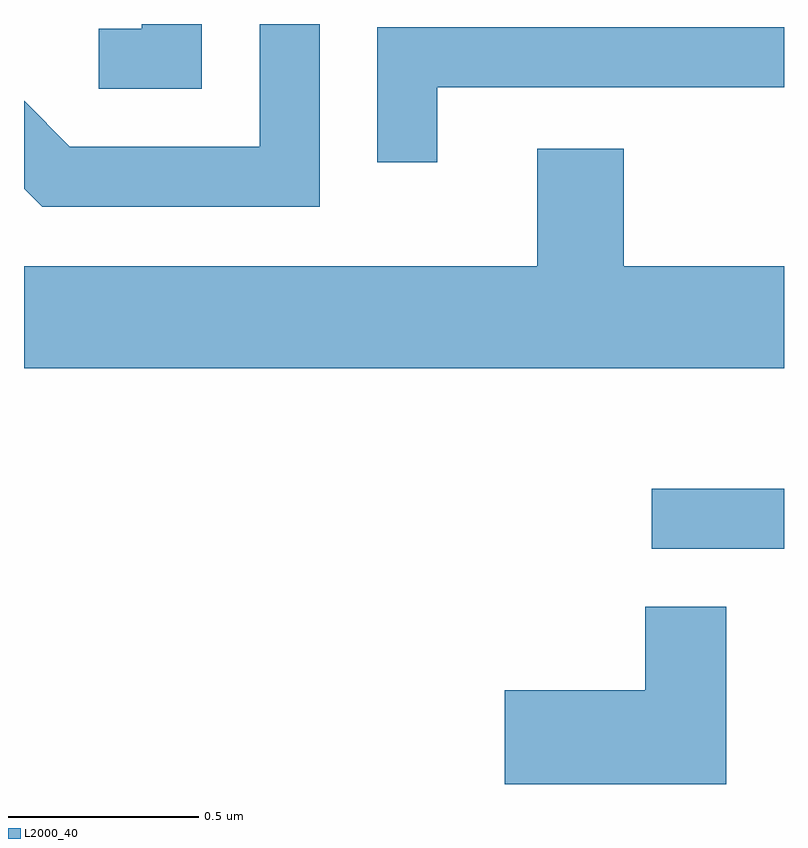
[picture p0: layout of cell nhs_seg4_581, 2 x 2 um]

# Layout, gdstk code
import gdstk
lib = gdstk.Library(unit=1e-6, precision=1e-09)
def R(c, l, rs):  # rectangles x0, y0, x1, y1
    for r in rs: c.add(gdstk.rectangle(r[:2], r[2:], *l))
def P(c, l, *ps):  # polygons
    for p in ps: c.add(gdstk.Polygon(p, *l))
L2000_40 = (2000, 40)

nhs_seg4_581 = lib.new_cell('nhs_seg4_581')
R(nhs_seg4_581, L2000_40, [(191.263,1287.601,191.611,1287.759)])
P(nhs_seg4_581, L2000_40, [(190.389,1288.982),(190.231,1288.982),(190.231,1288.659),(189.732,1288.659),(189.611,1288.78),(189.611,1288.549),(189.659,1288.501),(190.389,1288.501)],
  [(190.079,1288.982),(189.921,1288.982),(189.921,1288.969),(189.808,1288.969),(189.808,1288.811),(190.079,1288.811)],
  [(190.699,1288.816),(191.611,1288.816),(191.611,1288.974),(190.541,1288.974),(190.541,1288.618),(190.699,1288.618)],
  [(191.611,1288.344),(191.189,1288.344),(191.189,1288.654),(190.961,1288.654),(190.961,1288.344),(189.611,1288.344),(189.611,1288.076),(191.611,1288.076)],
  [(191.459,1287.449),(191.246,1287.449),(191.246,1287.229),(190.876,1287.229),(190.876,1286.982),(191.459,1286.982)])

lib.write_gds('nhs_seg4_581.gds')
